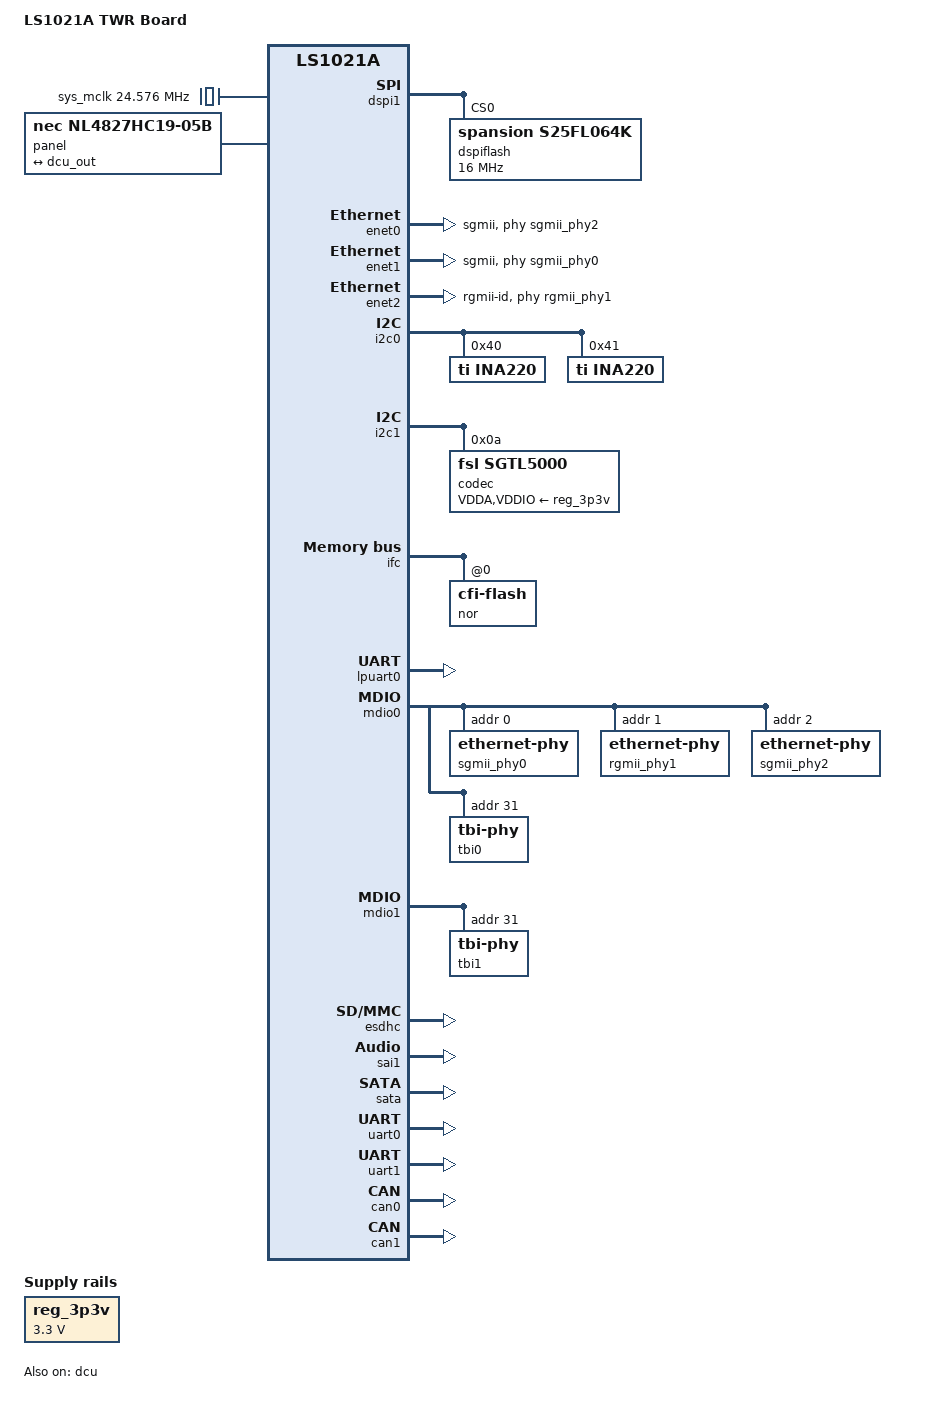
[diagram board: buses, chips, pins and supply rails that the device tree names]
/*
 * Copyright 2013-2014 Freescale Semiconductor, Inc.
 *
 * This file is dual-licensed: you can use it either under the terms
 * of the GPL or the X11 license, at your option. Note that this dual
 * licensing only applies to this file, and not this project as a
 * whole.
 *
 *  a) This file is free software; you can redistribute it and/or
 *     modify it under the terms of the GNU General Public License as
 *     published by the Free Software Foundation; either version 2 of
 *     the License, or (at your option) any later version.
 *
 *     This file is distributed in the hope that it will be useful,
 *     but WITHOUT ANY WARRANTY; without even the implied warranty of
 *     MERCHANTABILITY or FITNESS FOR A PARTICULAR PURPOSE.  See the
 *     GNU General Public License for more details.
 *
 *     You should have received a copy of the GNU General Public
 *     License along with this file; if not, write to the Free
 *     Software Foundation, Inc., 51 Franklin St, Fifth Floor, Boston,
 *     MA 02110-1301 USA
 *
 * Or, alternatively,
 *
 *  b) Permission is hereby granted, free of charge, to any person
 *     obtaining a copy of this software and associated documentation
 *     files (the "Software"), to deal in the Software without
 *     restriction, including without limitation the rights to use,
 *     copy, modify, merge, publish, distribute, sublicense, and/or
 *     sell copies of the Software, and to permit persons to whom the
 *     Software is furnished to do so, subject to the following
 *     conditions:
 *
 *     The above copyright notice and this permission notice shall be
 *     included in all copies or substantial portions of the Software.
 *
 *     THE SOFTWARE IS PROVIDED "AS IS", WITHOUT WARRANTY OF ANY KIND,
 *     EXPRESS OR IMPLIED, INCLUDING BUT NOT LIMITED TO THE WARRANTIES
 *     OF MERCHANTABILITY, FITNESS FOR A PARTICULAR PURPOSE AND
 *     NONINFRINGEMENT. IN NO EVENT SHALL THE AUTHORS OR COPYRIGHT
 *     HOLDERS BE LIABLE FOR ANY CLAIM, DAMAGES OR OTHER LIABILITY,
 *     WHETHER IN AN ACTION OF CONTRACT, TORT OR OTHERWISE, ARISING
 *     FROM, OUT OF OR IN CONNECTION WITH THE SOFTWARE OR THE USE OR
 *     OTHER DEALINGS IN THE SOFTWARE.
 */

/dts-v1/;
#include "ls1021a.dtsi"

/ {
	model = "LS1021A TWR Board";

	aliases {
		enet2_rgmii_phy = &rgmii_phy1;
		enet0_sgmii_phy = &sgmii_phy2;
		enet1_sgmii_phy = &sgmii_phy0;
	};

	sys_mclk: clock-mclk {
		compatible = "fixed-clock";
		#clock-cells = <0>;
		clock-frequency = <24576000>;
	};

	regulators {
		compatible = "simple-bus";
		#address-cells = <1>;
		#size-cells = <0>;

		reg_3p3v: regulator@0 {
			compatible = "regulator-fixed";
			reg = <0>;
			regulator-name = "3P3V";
			regulator-min-microvolt = <3300000>;
			regulator-max-microvolt = <3300000>;
			regulator-always-on;
		};
	};

	sound {
		compatible = "simple-audio-card";
		simple-audio-card,format = "i2s";
		simple-audio-card,widgets =
			"Microphone", "Microphone Jack",
			"Headphone", "Headphone Jack",
			"Speaker", "Speaker Ext",
			"Line", "Line In Jack";
		simple-audio-card,routing =
			"MIC_IN", "Microphone Jack",
			"Microphone Jack", "Mic Bias",
			"LINE_IN", "Line In Jack",
			"Headphone Jack", "HP_OUT",
			"Speaker Ext", "LINE_OUT";

		simple-audio-card,cpu {
			sound-dai = <&sai1>;
			frame-master;
			bitclock-master;
		};

		simple-audio-card,codec {
			sound-dai = <&codec>;
			frame-master;
			bitclock-master;
		};
	};

	panel: panel {
		compatible = "nec,nl4827hc19-05b";

		port {
			panel_in: endpoint {
				remote-endpoint = <&dcu_out>;
			};
		};
	};
};

&dcu {
	status = "okay";

	port {
		dcu_out: endpoint {
			remote-endpoint = <&panel_in>;
		};
	};
};

&dspi1 {
	bus-num = <0>;
	status = "okay";

	dspiflash: s25fl064k@0 {
		#address-cells = <1>;
		#size-cells = <1>;
		compatible = "spansion,s25fl064k";
		spi-max-frequency = <16000000>;
		spi-cpol;
		spi-cpha;
		reg = <0>;
	};
};

&enet0 {
	tbi-handle = <&tbi0>;
	phy-handle = <&sgmii_phy2>;
	phy-connection-type = "sgmii";
	status = "okay";
};

&enet1 {
	tbi-handle = <&tbi1>;
	phy-handle = <&sgmii_phy0>;
	phy-connection-type = "sgmii";
	status = "okay";
};

&enet2 {
	phy-handle = <&rgmii_phy1>;
	phy-connection-type = "rgmii-id";
	status = "okay";
};

&i2c0 {
	status = "okay";

	ina220@40 {
		compatible = "ti,ina220";
		reg = <0x40>;
		shunt-resistor = <1000>;
	};

	ina220@41 {
		compatible = "ti,ina220";
		reg = <0x41>;
		shunt-resistor = <1000>;
	};

};

&i2c1 {
	status = "okay";
	codec: sgtl5000@a {
		#sound-dai-cells = <0>;
		compatible = "fsl,sgtl5000";
		reg = <0x0a>;
		VDDA-supply = <&reg_3p3v>;
		VDDIO-supply = <&reg_3p3v>;
		clocks = <&sys_mclk>;
	};
};

&ifc {
	#address-cells = <2>;
	#size-cells = <1>;
	/* NOR Flash on board */
	ranges = <0x0 0x0 0x0 0x60000000 0x08000000>;
	status = "okay";

	nor@0,0 {
		#address-cells = <1>;
		#size-cells = <1>;
		compatible = "cfi-flash";
		reg = <0x0 0x0 0x8000000>;
		bank-width = <2>;
		device-width = <1>;
	};
};

&lpuart0 {
	status = "okay";
};

&mdio0 {
	sgmii_phy0: ethernet-phy@0 {
		reg = <0x0>;
	};
	rgmii_phy1: ethernet-phy@1 {
		reg = <0x1>;
	};
	sgmii_phy2: ethernet-phy@2 {
		reg = <0x2>;
	};
	tbi0: tbi-phy@1f {
		reg = <0x1f>;
		device_type = "tbi-phy";
	};
};

&mdio1 {
	tbi1: tbi-phy@1f {
		reg = <0x1f>;
		device_type = "tbi-phy";
	};
};

&esdhc {
        status = "okay";
};

&sai1 {
	status = "okay";
};

&sata {
	status = "okay";
};

&uart0 {
	status = "okay";
};

&uart1 {
	status = "okay";
};

&can0 {
	status = "okay";
};

&can1 {
	status = "okay";
};

&can2 {
	status = "disabled";
};

&can3 {
	status = "disabled";
};
